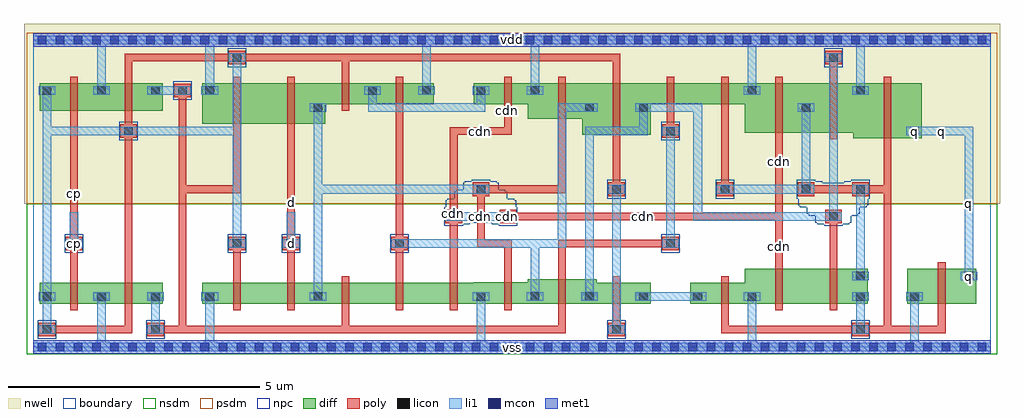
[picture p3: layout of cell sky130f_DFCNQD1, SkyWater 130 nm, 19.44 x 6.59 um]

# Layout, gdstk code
import gdstk
lib = gdstk.Library(unit=1e-6, precision=1e-09)
def R(c, l, rs):  # rectangles x0, y0, x1, y1
    for r in rs: c.add(gdstk.rectangle(r[:2], r[2:], *l))
def A(c, l, x, y, w, h, nx, ny, dx, dy):  # array of equal rectangles
    R(c, l, [(x+i*dx, y+j*dy, x+i*dx+w, y+j*dy+h) for i in range(nx) for j in range(ny)])
def P(c, l, *ps):  # polygons
    for p in ps: c.add(gdstk.Polygon(p, *l))
L0_0 = (0, 0)
nwell = (64, 20)
diff = (65, 20)
poly = (66, 20)
licon = (66, 44)
li1 = (67, 20)
mcon = (67, 44)
met1 = (68, 20)
nsdm = (93, 44)
psdm = (94, 20)
npc = (95, 20)
boundary = (235, 4)

sky130f_dfcnqd1 = lib.new_cell('sky130f_DFCNQD1')
R(sky130f_dfcnqd1, nwell, [(-0.18,2.86,19.26,6.445)])
A(sky130f_dfcnqd1, diff, 0.135, 0.86, 0.29, 0.29, 4, 2, 1.08, 4.11)
A(sky130f_dfcnqd1, diff, 3.375, 0.86, 1.37, 0.42, 5, 1, 1.08, 0)
A(sky130f_dfcnqd1, diff, 8.775, 0.86, 0.29, 0.29, 6, 1, 1.08, 0)
A(sky130f_dfcnqd1, diff, 6.615, 4.97, 0.29, 0.29, 4, 1, 1.08, 0)
R(sky130f_dfcnqd1, diff, [(0.135,0.86,1.505,1.28), (1.215,0.86,2.585,1.28), (5.535,0.86,5.825,1.15), (8.775,0.86,10.145,1.29), (9.855,0.86,11.225,1.35), (10.935,0.86,12.305,1.28), (13.095,0.86,14.465,1.28), (14.175,0.86,15.545,1.56), (15.255,0.86,16.625,1.56), (16.335,0.86,16.625,1.15), (17.415,0.86,18.785,1.56), (17.415,0.86,17.705,1.15), (16.335,1.27,16.625,1.56), (18.495,1.27,18.785,1.56), (16.335,4.16,17.705,5.26), (17.415,4.16,17.705,4.45), (10.935,4.23,12.305,5.26), (14.175,4.27,15.545,5.26), (15.255,4.27,16.625,5.26), (3.375,4.45,4.745,5.26), (4.455,4.45,5.825,5.26), (9.855,4.545,11.225,5.26), (5.535,4.63,5.825,4.92), (10.935,4.63,11.225,4.92), (12.015,4.63,12.305,4.92), (15.255,4.63,15.545,4.92), (0.135,4.71,1.505,5.26), (1.215,4.71,2.585,5.26), (5.535,4.84,6.905,5.26), (6.615,4.84,7.985,5.26), (8.775,4.84,10.145,5.26), (12.015,4.84,13.385,5.26), (13.095,4.84,14.465,5.26), (14.175,4.97,14.465,5.26), (16.335,4.97,16.625,5.26)])
A(sky130f_dfcnqd1, poly, 1.825, 0.28, 0.15, 0.8, 3, 1, 4.32, 0)
A(sky130f_dfcnqd1, poly, 3.985, 0.73, 0.15, 0.68, 5, 1, 1.08, 0)
R(sky130f_dfcnqd1, poly, [(0.115,0.22,0.445,0.49), (2.275,0.22,2.605,0.49), (11.455,0.22,11.785,0.49), (16.315,0.22,16.645,0.49), (0.205,0.28,1.975,0.43), (2.365,0.28,10.615,0.43), (2.905,0.28,3.055,5.19), (2.905,0.28,6.295,0.43), (11.545,0.28,11.695,1.08), (13.705,0.28,13.855,1.08), (13.705,0.28,16.555,0.43), (16.405,0.28,18.175,0.43), (16.945,0.28,17.095,3.22), (18.025,0.28,18.175,1.08), (0.745,0.73,0.895,1.41), (1.825,0.73,1.975,1.41), (9.385,0.73,9.535,1.42), (10.465,0.73,10.615,1.48), (11.545,0.73,11.695,1.41), (13.705,0.73,13.855,1.41), (14.785,0.73,14.935,1.69), (15.865,0.73,16.015,1.69), (18.025,0.73,18.175,1.69), (0.745,0.93,0.895,5.19), (1.825,0.93,1.975,5.19), (3.985,0.93,4.135,2.14), (5.065,0.93,5.215,4.85), (7.225,0.93,7.375,5.19), (8.305,0.93,8.455,4.38), (9.385,0.93,9.535,2.14), (10.465,0.93,10.615,2.14), (14.785,1.34,14.935,2.68), (15.865,1.34,16.015,2.68), (0.655,1.93,0.985,2.2), (3.895,1.93,4.225,2.2), (4.975,1.93,5.305,2.2), (7.135,1.93,7.465,2.2), (12.535,1.93,12.865,2.2), (8.845,1.99,9.535,2.14), (8.845,1.99,8.995,3.22), (10.465,1.99,12.775,2.14), (8.215,2.47,8.545,2.74), (9.295,2.47,9.625,2.74), (15.775,2.47,16.105,2.74), (9.385,2.53,14.935,2.68), (14.785,2.53,14.935,4.85), (8.755,3.01,9.085,3.28), (11.455,3.01,11.785,3.28), (13.615,3.01,13.945,3.28), (15.235,3.01,15.565,3.28), (15.235,3.01,15.565,3.28), (16.315,3.01,16.645,3.28), (2.905,3.07,4.135,3.22), (3.985,3.07,4.135,4.85), (8.845,3.07,10.615,3.22), (10.465,3.07,10.615,4.85), (11.545,3.07,11.695,4.85), (13.705,3.07,13.855,5.19), (15.325,3.07,16.555,3.22), (15.325,3.07,16.555,3.22), (16.405,3.07,17.095,3.22), (16.945,3.07,17.095,4.38), (16.945,4.03,17.095,5.39), (11.545,4.1,11.695,5.39), (14.785,4.14,14.935,5.39), (15.865,4.14,16.015,5.39), (1.735,4.17,2.065,4.44), (12.535,4.17,12.865,4.44), (8.305,4.23,9.535,4.38), (9.385,4.23,9.535,5.19), (12.625,4.23,12.775,5.19), (3.985,4.32,4.135,5.39), (5.065,4.32,5.215,5.39), (10.465,4.415,10.615,5.39), (0.745,4.58,0.895,5.39), (1.825,4.58,1.975,5.39), (6.145,4.71,6.295,5.39), (7.225,4.71,7.375,5.39), (9.385,4.71,9.535,5.39), (12.625,4.71,12.775,5.39), (13.705,4.71,13.855,5.39), (11.545,4.85,11.695,5.04), (2.815,4.98,3.145,5.25), (1.825,5.04,1.975,5.84), (6.145,5.04,6.295,5.84), (11.545,5.04,11.695,5.84), (15.865,5.04,16.015,5.84), (3.895,5.63,4.225,5.9), (15.775,5.63,16.105,5.9), (1.825,5.69,6.295,5.84), (3.985,5.69,11.695,5.84)])
A(sky130f_dfcnqd1, licon, 0.195, 0.92, 0.17, 0.17, 4, 1, 1.08, 0)
A(sky130f_dfcnqd1, licon, 8.835, 0.92, 0.17, 0.17, 6, 1, 1.08, 0)
A(sky130f_dfcnqd1, licon, 0.195, 5.03, 0.17, 0.17, 3, 1, 1.08, 0)
A(sky130f_dfcnqd1, licon, 6.675, 5.03, 0.17, 0.17, 4, 1, 1.08, 0)
R(sky130f_dfcnqd1, licon, [(0.195,0.27,0.365,0.44), (2.355,0.27,2.525,0.44), (11.535,0.27,11.705,0.44), (16.395,0.27,16.565,0.44), (5.595,0.92,5.765,1.09), (16.395,0.92,16.565,1.09), (17.475,0.92,17.645,1.09), (16.395,1.33,16.565,1.5), (18.555,1.33,18.725,1.5), (0.735,1.98,0.905,2.15), (3.975,1.98,4.145,2.15), (5.055,1.98,5.225,2.15), (7.215,1.98,7.385,2.15), (12.615,1.98,12.785,2.15), (8.295,2.52,8.465,2.69), (9.375,2.52,9.545,2.69), (15.855,2.52,16.025,2.69), (8.835,3.06,9.005,3.23), (11.535,3.06,11.705,3.23), (13.695,3.06,13.865,3.23), (15.315,3.06,15.485,3.23), (15.315,3.06,15.485,3.23), (16.395,3.06,16.565,3.23), (1.815,4.22,1.985,4.39), (12.615,4.22,12.785,4.39), (17.475,4.22,17.645,4.39), (5.595,4.69,5.765,4.86), (10.995,4.69,11.165,4.86), (12.075,4.69,12.245,4.86), (15.315,4.69,15.485,4.86), (2.895,5.03,3.065,5.2), (3.435,5.03,3.605,5.2), (14.235,5.03,14.405,5.2), (16.395,5.03,16.565,5.2), (3.975,5.68,4.145,5.85), (15.855,5.68,16.025,5.85)])
A(sky130f_dfcnqd1, li1, 3.435, 0.06, 0.17, 1.03, 3, 1, 5.4, 0)
A(sky130f_dfcnqd1, li1, 0.115, 0.92, 0.33, 0.17, 4, 1, 1.08, 0)
A(sky130f_dfcnqd1, li1, 8.755, 0.92, 0.33, 0.17, 6, 1, 1.08, 0)
A(sky130f_dfcnqd1, li1, 0.115, 5.03, 0.33, 0.17, 3, 1, 1.08, 0)
A(sky130f_dfcnqd1, li1, 6.595, 5.03, 0.33, 0.17, 4, 1, 1.08, 0)
R(sky130f_dfcnqd1, li1, [(0,-0.085,19.08,0.085), (1.275,0.06,1.445,1.09), (17.475,0.06,17.645,1.09), (0.115,0.27,0.445,0.44), (0.195,0.27,0.365,1.09), (2.275,0.27,2.605,0.44), (2.355,0.27,2.525,1.09), (11.455,0.27,11.785,0.44), (11.535,0.27,11.705,3.23), (16.315,0.27,16.645,0.44), (16.395,0.27,16.565,1.09), (0.195,0.92,0.365,5.2), (0.195,0.92,0.365,1.5), (5.515,0.92,5.845,1.09), (5.595,0.92,5.765,4.86), (9.915,0.92,10.085,2.15), (10.995,0.92,11.165,4.39), (12.075,0.92,13.325,1.09), (16.315,0.92,16.645,1.09), (17.395,0.92,17.725,1.09), (16.315,1.33,16.645,1.5), (16.395,1.33,16.565,3.23), (18.475,1.33,18.805,1.5), (18.555,1.33,18.725,4.39), (0.655,1.98,0.985,2.15), (0.735,1.98,0.905,2.69), (3.895,1.98,4.225,2.15), (3.975,1.98,4.145,4.39), (4.975,1.98,5.305,2.15), (5.055,1.98,5.225,2.69), (7.135,1.98,7.465,2.15), (7.215,1.98,10.625,2.15), (10.455,1.98,10.625,4.86), (12.535,1.98,12.865,2.15), (12.615,1.98,12.785,4.39), (8.215,2.52,8.545,2.69), (8.295,2.52,9.545,2.69), (9.295,2.52,9.625,2.69), (13.155,2.52,13.325,4.86), (13.155,2.52,16.025,2.69), (15.775,2.52,16.105,2.69), (15.855,2.52,16.025,5.85), (5.595,3.06,9.005,3.23), (8.755,3.06,9.085,3.23), (11.455,3.06,11.785,3.23), (13.615,3.06,13.945,3.23), (13.695,3.06,15.485,3.23), (15.235,3.06,15.565,3.23), (15.235,3.06,15.565,3.23), (15.315,3.06,15.485,4.86), (16.315,3.06,16.645,3.23), (0.195,4.22,4.145,4.39), (1.735,4.22,2.065,4.39), (3.975,4.22,4.145,5.85), (10.995,4.22,12.245,4.39), (12.075,4.22,12.245,4.86), (12.535,4.22,12.865,4.39), (17.395,4.22,17.725,4.39), (17.475,4.22,18.725,4.39), (5.515,4.69,5.845,4.86), (6.675,4.69,6.845,5.2), (6.675,4.69,9.005,4.86), (8.835,4.69,9.005,5.2), (10.455,4.69,11.165,4.86), (10.915,4.69,11.245,4.86), (11.995,4.69,12.325,4.86), (12.075,4.69,13.325,4.86), (15.235,4.69,15.565,4.86), (1.275,5.03,1.445,6.06), (2.355,5.03,3.065,5.2), (2.815,5.03,3.145,5.2), (3.355,5.03,3.685,5.2), (3.435,5.03,3.605,6.06), (7.755,5.03,7.925,6.06), (9.915,5.03,10.085,6.06), (14.155,5.03,14.485,5.2), (14.235,5.03,14.405,6.06), (16.315,5.03,16.645,5.2), (16.395,5.03,16.565,6.06), (3.895,5.68,4.225,5.85), (15.775,5.68,16.105,5.85), (0,6.035,19.08,6.205)])
A(sky130f_dfcnqd1, mcon, 0.095, -0.085, 0.17, 0.17, 53, 2, 0.36, 6.12)
R(sky130f_dfcnqd1, met1, [(0,-0.135,19.08,0.135), (0,5.985,19.08,6.255)])
R(sky130f_dfcnqd1, nsdm, [(-0.125,-0.145,19.205,0.145), (-0.125,0.145,19.205,2.86)])
R(sky130f_dfcnqd1, psdm, [(-0.125,2.86,19.205,5.975), (-0.125,5.975,19.205,6.265)])
R(sky130f_dfcnqd1, npc, [(0.095,0.17,0.465,0.54), (2.255,0.17,2.625,0.54), (11.435,0.17,11.805,0.54), (16.295,0.17,16.665,0.54), (0.635,1.88,1.005,2.25), (3.875,1.88,4.245,2.25), (4.955,1.88,5.325,2.25), (7.115,1.88,7.485,2.25), (12.515,1.88,12.885,2.25), (11.435,2.96,11.805,3.33), (13.595,2.96,13.965,3.33), (1.715,4.12,2.085,4.49), (12.515,4.12,12.885,4.49), (2.795,4.93,3.165,5.3), (3.875,5.58,4.245,5.95), (15.755,5.58,16.125,5.95)])
P(sky130f_dfcnqd1, npc, [(8.195,2.42),(8.195,2.79),(8.22,2.79),(8.22,2.925),(8.255,2.925),(8.255,2.96),(8.39,2.96),(8.39,3.095),(8.43,3.095),(8.43,3.135),(8.565,3.135),(8.565,3.27),(8.6,3.27),(8.6,3.305),(8.735,3.305),(8.735,3.33),(9.105,3.33),(9.105,3.305),(9.24,3.305),(9.24,3.27),(9.275,3.27),(9.275,3.135),(9.41,3.135),(9.41,3.095),(9.45,3.095),(9.45,2.96),(9.585,2.96),(9.585,2.925),(9.62,2.925),(9.62,2.79),(9.645,2.79),(9.645,2.42),(9.275,2.42),(9.275,2.445),(9.14,2.445),(9.14,2.48),(8.7,2.48),(8.7,2.445),(8.565,2.445),(8.565,2.42)],
  [(15.755,2.42),(15.755,2.445),(15.62,2.445),(15.62,2.48),(15.585,2.48),(15.585,2.615),(15.45,2.615),(15.45,2.655),(15.41,2.655),(15.41,2.79),(15.275,2.79),(15.275,2.825),(15.24,2.825),(15.24,2.96),(15.215,2.96),(15.215,3.33),(15.585,3.33),(15.585,3.305),(15.72,3.305),(15.72,3.27),(16.16,3.27),(16.16,3.305),(16.295,3.305),(16.295,3.33),(16.665,3.33),(16.665,2.96),(16.64,2.96),(16.64,2.825),(16.605,2.825),(16.605,2.79),(16.47,2.79),(16.47,2.655),(16.43,2.655),(16.43,2.615),(16.295,2.615),(16.295,2.48),(16.26,2.48),(16.26,2.445),(16.125,2.445),(16.125,2.42)])
R(sky130f_dfcnqd1, boundary, [(0,0,19.08,6.12)])
sky130f_dfcnqd1.add(gdstk.FlexPath([(0.115,0.355),(18.805,0.355)], 0, ends="flush", simple_path=True, layer=0, datatype=0))  # L0_0
sky130f_dfcnqd1.add(gdstk.FlexPath([(0.115,1.005),(18.805,1.005)], 0, ends="flush", simple_path=True, layer=0, datatype=0))  # L0_0
sky130f_dfcnqd1.add(gdstk.FlexPath([(0.115,1.415),(18.805,1.415)], 0, ends="flush", simple_path=True, layer=0, datatype=0))  # L0_0
sky130f_dfcnqd1.add(gdstk.FlexPath([(0.115,2.065),(18.805,2.065)], 0, ends="flush", simple_path=True, layer=0, datatype=0))  # L0_0
sky130f_dfcnqd1.add(gdstk.FlexPath([(0.115,2.605),(18.805,2.605)], 0, ends="flush", simple_path=True, layer=0, datatype=0))  # L0_0
sky130f_dfcnqd1.add(gdstk.FlexPath([(0.115,3.145),(18.805,3.145)], 0, ends="flush", simple_path=True, layer=0, datatype=0))  # L0_0
sky130f_dfcnqd1.add(gdstk.FlexPath([(0.115,4.305),(18.805,4.305)], 0, ends="flush", simple_path=True, layer=0, datatype=0))  # L0_0
sky130f_dfcnqd1.add(gdstk.FlexPath([(0.115,4.775),(18.805,4.775)], 0, ends="flush", simple_path=True, layer=0, datatype=0))  # L0_0
sky130f_dfcnqd1.add(gdstk.FlexPath([(0.115,5.115),(18.805,5.115)], 0, ends="flush", simple_path=True, layer=0, datatype=0))  # L0_0
sky130f_dfcnqd1.add(gdstk.FlexPath([(0.115,5.765),(18.805,5.765)], 0, ends="flush", simple_path=True, layer=0, datatype=0))  # L0_0
sky130f_dfcnqd1.add(gdstk.FlexPath([(0.28,0.06),(0.28,6.06)], 0, ends="flush", simple_path=True, layer=0, datatype=0))  # L0_0
sky130f_dfcnqd1.add(gdstk.FlexPath([(0.82,0.06),(0.82,6.06)], 0, ends="flush", simple_path=True, layer=0, datatype=0))  # L0_0
sky130f_dfcnqd1.add(gdstk.FlexPath([(1.36,0.06),(1.36,6.06)], 0, ends="flush", simple_path=True, layer=0, datatype=0))  # L0_0
sky130f_dfcnqd1.add(gdstk.FlexPath([(1.9,0.06),(1.9,6.06)], 0, ends="flush", simple_path=True, layer=0, datatype=0))  # L0_0
sky130f_dfcnqd1.add(gdstk.FlexPath([(2.44,0.06),(2.44,6.06)], 0, ends="flush", simple_path=True, layer=0, datatype=0))  # L0_0
sky130f_dfcnqd1.add(gdstk.FlexPath([(2.98,0.06),(2.98,6.06)], 0, ends="flush", simple_path=True, layer=0, datatype=0))  # L0_0
sky130f_dfcnqd1.add(gdstk.FlexPath([(3.52,0.06),(3.52,6.06)], 0, ends="flush", simple_path=True, layer=0, datatype=0))  # L0_0
sky130f_dfcnqd1.add(gdstk.FlexPath([(4.06,0.06),(4.06,6.06)], 0, ends="flush", simple_path=True, layer=0, datatype=0))  # L0_0
sky130f_dfcnqd1.add(gdstk.FlexPath([(4.6,0.06),(4.6,6.06)], 0, ends="flush", simple_path=True, layer=0, datatype=0))  # L0_0
sky130f_dfcnqd1.add(gdstk.FlexPath([(5.14,0.06),(5.14,6.06)], 0, ends="flush", simple_path=True, layer=0, datatype=0))  # L0_0
sky130f_dfcnqd1.add(gdstk.FlexPath([(5.68,0.06),(5.68,6.06)], 0, ends="flush", simple_path=True, layer=0, datatype=0))  # L0_0
sky130f_dfcnqd1.add(gdstk.FlexPath([(6.22,0.06),(6.22,6.06)], 0, ends="flush", simple_path=True, layer=0, datatype=0))  # L0_0
sky130f_dfcnqd1.add(gdstk.FlexPath([(6.76,0.06),(6.76,6.06)], 0, ends="flush", simple_path=True, layer=0, datatype=0))  # L0_0
sky130f_dfcnqd1.add(gdstk.FlexPath([(7.3,0.06),(7.3,6.06)], 0, ends="flush", simple_path=True, layer=0, datatype=0))  # L0_0
sky130f_dfcnqd1.add(gdstk.FlexPath([(7.84,0.06),(7.84,6.06)], 0, ends="flush", simple_path=True, layer=0, datatype=0))  # L0_0
sky130f_dfcnqd1.add(gdstk.FlexPath([(8.38,0.06),(8.38,6.06)], 0, ends="flush", simple_path=True, layer=0, datatype=0))  # L0_0
sky130f_dfcnqd1.add(gdstk.FlexPath([(8.92,0.06),(8.92,6.06)], 0, ends="flush", simple_path=True, layer=0, datatype=0))  # L0_0
sky130f_dfcnqd1.add(gdstk.FlexPath([(9.46,0.06),(9.46,6.06)], 0, ends="flush", simple_path=True, layer=0, datatype=0))  # L0_0
sky130f_dfcnqd1.add(gdstk.FlexPath([(10,0.06),(10,6.06)], 0, ends="flush", simple_path=True, layer=0, datatype=0))  # L0_0
sky130f_dfcnqd1.add(gdstk.FlexPath([(10.54,0.06),(10.54,6.06)], 0, ends="flush", simple_path=True, layer=0, datatype=0))  # L0_0
sky130f_dfcnqd1.add(gdstk.FlexPath([(11.08,0.06),(11.08,6.06)], 0, ends="flush", simple_path=True, layer=0, datatype=0))  # L0_0
sky130f_dfcnqd1.add(gdstk.FlexPath([(11.62,0.06),(11.62,6.06)], 0, ends="flush", simple_path=True, layer=0, datatype=0))  # L0_0
sky130f_dfcnqd1.add(gdstk.FlexPath([(12.16,0.06),(12.16,6.06)], 0, ends="flush", simple_path=True, layer=0, datatype=0))  # L0_0
sky130f_dfcnqd1.add(gdstk.FlexPath([(12.7,0.06),(12.7,6.06)], 0, ends="flush", simple_path=True, layer=0, datatype=0))  # L0_0
sky130f_dfcnqd1.add(gdstk.FlexPath([(13.24,0.06),(13.24,6.06)], 0, ends="flush", simple_path=True, layer=0, datatype=0))  # L0_0
sky130f_dfcnqd1.add(gdstk.FlexPath([(13.78,0.06),(13.78,6.06)], 0, ends="flush", simple_path=True, layer=0, datatype=0))  # L0_0
sky130f_dfcnqd1.add(gdstk.FlexPath([(14.32,0.06),(14.32,6.06)], 0, ends="flush", simple_path=True, layer=0, datatype=0))  # L0_0
sky130f_dfcnqd1.add(gdstk.FlexPath([(14.86,0.06),(14.86,6.06)], 0, ends="flush", simple_path=True, layer=0, datatype=0))  # L0_0
sky130f_dfcnqd1.add(gdstk.FlexPath([(15.4,0.06),(15.4,6.06)], 0, ends="flush", simple_path=True, layer=0, datatype=0))  # L0_0
sky130f_dfcnqd1.add(gdstk.FlexPath([(15.94,0.06),(15.94,6.06)], 0, ends="flush", simple_path=True, layer=0, datatype=0))  # L0_0
sky130f_dfcnqd1.add(gdstk.FlexPath([(16.48,0.06),(16.48,6.06)], 0, ends="flush", simple_path=True, layer=0, datatype=0))  # L0_0
sky130f_dfcnqd1.add(gdstk.FlexPath([(17.02,0.06),(17.02,6.06)], 0, ends="flush", simple_path=True, layer=0, datatype=0))  # L0_0
sky130f_dfcnqd1.add(gdstk.FlexPath([(17.56,0.06),(17.56,6.06)], 0, ends="flush", simple_path=True, layer=0, datatype=0))  # L0_0
sky130f_dfcnqd1.add(gdstk.FlexPath([(18.1,0.06),(18.1,6.06)], 0, ends="flush", simple_path=True, layer=0, datatype=0))  # L0_0
sky130f_dfcnqd1.add(gdstk.FlexPath([(18.64,0.06),(18.64,6.06)], 0, ends="flush", simple_path=True, layer=0, datatype=0))  # L0_0
sky130f_dfcnqd1.add(gdstk.Label('q', (18.64,1.415), layer=65, texttype=20))
sky130f_dfcnqd1.add(gdstk.Label('q', (17.56,4.305), layer=65, texttype=20))
sky130f_dfcnqd1.add(gdstk.Label('cp', (0.82,3.06), layer=66, texttype=20))
sky130f_dfcnqd1.add(gdstk.Label('cp', (0.82,2.065), layer=66, texttype=20))
sky130f_dfcnqd1.add(gdstk.Label('d', (5.14,2.89), layer=66, texttype=20))
sky130f_dfcnqd1.add(gdstk.Label('d', (5.14,2.065), layer=66, texttype=20))
sky130f_dfcnqd1.add(gdstk.Label('cdn', (8.38,2.655), layer=66, texttype=20))
sky130f_dfcnqd1.add(gdstk.Label('cdn', (8.92,4.305), layer=66, texttype=20))
sky130f_dfcnqd1.add(gdstk.Label('cdn', (9.46,4.71), layer=66, texttype=20))
sky130f_dfcnqd1.add(gdstk.Label('cdn', (14.86,2.01), layer=66, texttype=20))
sky130f_dfcnqd1.add(gdstk.Label('cdn', (12.16,2.605), layer=66, texttype=20))
sky130f_dfcnqd1.add(gdstk.Label('cdn', (9.46,2.605), layer=66, texttype=20))
sky130f_dfcnqd1.add(gdstk.Label('cdn', (8.38,2.605), layer=66, texttype=20))
sky130f_dfcnqd1.add(gdstk.Label('cdn', (14.86,3.69), layer=66, texttype=20))
sky130f_dfcnqd1.add(gdstk.Label('q', (18.64,1.415), layer=66, texttype=44))
sky130f_dfcnqd1.add(gdstk.Label('q', (17.56,4.305), layer=66, texttype=44))
sky130f_dfcnqd1.add(gdstk.Label('cp', (0.82,2.065), layer=66, texttype=44))
sky130f_dfcnqd1.add(gdstk.Label('d', (5.14,2.065), layer=66, texttype=44))
sky130f_dfcnqd1.add(gdstk.Label('cdn', (9.46,2.605), layer=66, texttype=44))
sky130f_dfcnqd1.add(gdstk.Label('cdn', (8.38,2.605), layer=66, texttype=44))
sky130f_dfcnqd1.add(gdstk.Label('cp', (0.82,2.065), layer=67, texttype=5))
sky130f_dfcnqd1.add(gdstk.Label('cp', (0.82,2.335), layer=67, texttype=5))
sky130f_dfcnqd1.add(gdstk.Label('d', (5.14,2.065), layer=67, texttype=5))
sky130f_dfcnqd1.add(gdstk.Label('d', (5.14,2.335), layer=67, texttype=5))
sky130f_dfcnqd1.add(gdstk.Label('cdn', (9.46,2.605), layer=67, texttype=5))
sky130f_dfcnqd1.add(gdstk.Label('cdn', (8.92,2.605), layer=67, texttype=5))
sky130f_dfcnqd1.add(gdstk.Label('cdn', (8.38,2.605), layer=67, texttype=5))
sky130f_dfcnqd1.add(gdstk.Label('q', (18.64,1.415), layer=67, texttype=5))
sky130f_dfcnqd1.add(gdstk.Label('q', (17.56,4.305), layer=67, texttype=5))
sky130f_dfcnqd1.add(gdstk.Label('q', (18.64,2.86), layer=67, texttype=5))
sky130f_dfcnqd1.add(gdstk.Label('q', (18.1,4.305), layer=67, texttype=5))
sky130f_dfcnqd1.add(gdstk.Label('vss', (9.54,0), layer=67, texttype=5))
sky130f_dfcnqd1.add(gdstk.Label('vdd', (9.54,6.12), layer=67, texttype=5))
sky130f_dfcnqd1.add(gdstk.Label('vss', (9.54,0), layer=68, texttype=5))
sky130f_dfcnqd1.add(gdstk.Label('vdd', (9.54,6.12), layer=68, texttype=5))

lib.write_gds('sky130f_DFCNQD1.gds')
